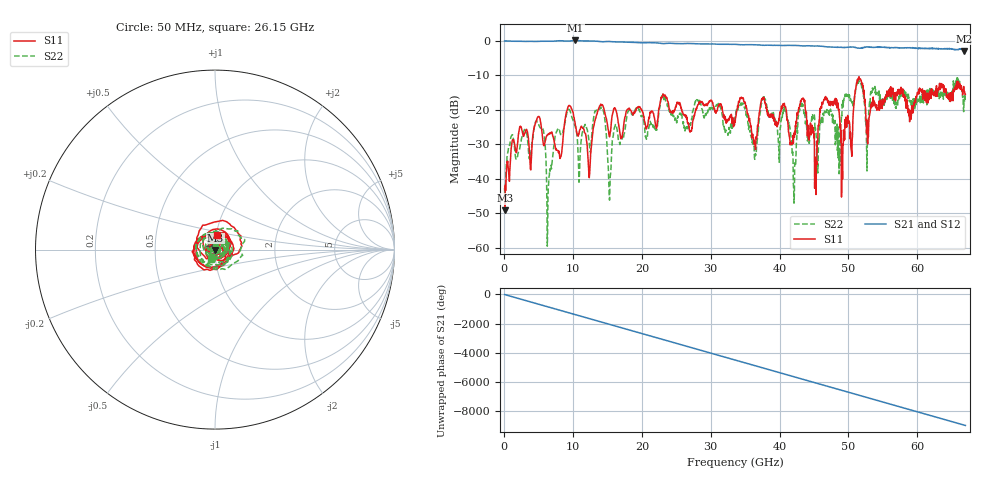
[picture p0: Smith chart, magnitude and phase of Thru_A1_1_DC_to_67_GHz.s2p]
#  HZ  S  MA  R  50.00
! Rohde & Schwarz ZVA67 4Ports - Version 4.11 - 1305.7002k04 SN: 101051
! Date: 2023-05-31 11:06:55
! Measurements: S11 S21 S12 S22
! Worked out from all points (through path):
!   1340 points, 50 MHz to 67 GHz, reference 50 ohm
!   highest |S21| = 0.11 dB at 10.3 GHz (marker M1); lowest = -3.0 dB at 66.8 GHz (marker M2)
!   group delay of S21, straight-line fit = 374 ps
!   lowest |S11| = -49.2 dB at 100 MHz (marker M3), VSWR 1.01, Z = 50.2 - j0.256 ohm
!   |S11| at or under -10 dB: start of sweep to end of sweep
!   |S22| runs from -59.5 to -10.6 dB; largest |S21 - S12| = 0.016
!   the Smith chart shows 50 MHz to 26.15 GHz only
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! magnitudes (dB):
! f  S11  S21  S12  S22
! 50 MHz  -44.4  0.0  0.0  -42.7
! 100 MHz  -49.2  0.0  0.0  -48.1
! 2.35 GHz  -24.8  -0.1  -0.1  -30.0
! 5.45 GHz  -26.0  -0.1  -0.1  -25.3
! 6.4 GHz  -27.2  -0.1  -0.1  -42.2
! 7.6 GHz  -31.7  0.0  0.0  -26.3
! 10.3 GHz  -24.1  0.1  0.1  -24.6
! 11.25 GHz  -24.8  0.0  0.0  -27.3
! 12.4 GHz  -38.7  0.0  0.0  -30.6
! 14.15 GHz  -18.7  -0.3  -0.2  -19.3
! 15.3 GHz  -27.8  -0.2  -0.2  -46.2
! 18.1 GHz  -19.7  -0.4  -0.4  -20.2
! 22.4 GHz  -20.8  -0.6  -0.6  -21.8
! 33.55 GHz  -23.6  -1.0  -1.0  -22.1
! 36.4 GHz  -29.9  -1.1  -1.1  -34.4
! 40.75 GHz  -19.1  -1.4  -1.4  -20.2
! 42.1 GHz  -26.7  -1.3  -1.3  -47.1
! 43 GHz  -18.4  -1.4  -1.4  -19.7
! 44.7 GHz  -24.5  -1.5  -1.5  -21.5
! 55.85 GHz  -16.1  -1.9  -1.9  -15.9
! 66.8 GHz  -14.4  -3.0  -2.9  -17.6
! 67 GHz  -15.6  -2.8  -2.7  -17.7
